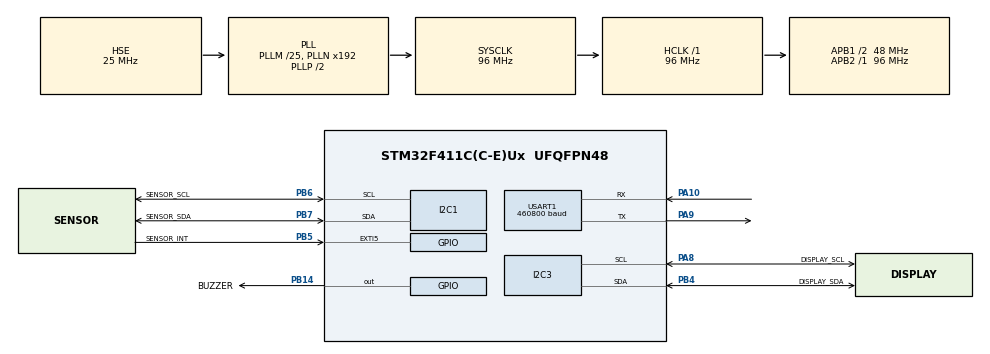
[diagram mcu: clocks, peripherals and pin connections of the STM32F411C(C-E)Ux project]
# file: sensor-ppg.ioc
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Dma.Request0=USART1_TX
Dma.USART1_TX.0.Direction=DMA_MEMORY_TO_PERIPH
Dma.USART1_TX.0.FIFOMode=DMA_FIFOMODE_DISABLE
Dma.USART1_TX.0.Instance=DMA2_Stream7
Dma.USART1_TX.0.MemDataAlignment=DMA_MDATAALIGN_BYTE
Dma.USART1_TX.0.MemInc=DMA_MINC_ENABLE
Dma.USART1_TX.0.Mode=DMA_NORMAL
Dma.USART1_TX.0.PeriphDataAlignment=DMA_PDATAALIGN_BYTE
Dma.USART1_TX.0.PeriphInc=DMA_PINC_DISABLE
Dma.USART1_TX.0.Priority=DMA_PRIORITY_LOW
I2C3.I2C_Mode=I2C_Fast
Mcu.Family=STM32F4
Mcu.Name=STM32F411C(C-E)Ux
Mcu.Package=UFQFPN48
NVIC.DMA2_Stream7_IRQn=true\:0\:0\:false\:false\:true\:false\:true\:true
NVIC.EXTI9_5_IRQn=true\:0\:0\:false\:false\:true\:true\:true\:true
NVIC.PriorityGroup=NVIC_PRIORITYGROUP_4
NVIC.TIM2_IRQn=true\:0\:0\:false\:false\:true\:true\:true\:true
NVIC.USART1_IRQn=true\:0\:0\:false\:false\:true\:true\:true\:true
PA10.Mode=Asynchronous
PA10.Signal=USART1_RX
PA8.GPIO_Label=DISPLAY_SCL
PA8.Mode=I2C
PA8.Signal=I2C3_SCL
PA9.Mode=Asynchronous
PA9.Signal=USART1_TX
PB14.GPIO_Label=BUZZER
PB14.Signal=GPIO_Output
PB4.GPIO_Label=DISPLAY_SDA
PB4.Mode=I2C
PB4.Signal=I2C3_SDA
PB5.GPIO_Label=SENSOR_INT
PB5.GPIO_ModeDefaultEXTI=GPIO_MODE_IT_FALLING
PB5.GPIO_PuPd=GPIO_PULLUP
PB5.Signal=GPXTI5
PB6.GPIO_Label=SENSOR_SCL
PB6.Mode=I2C
PB6.Signal=I2C1_SCL
PB7.GPIO_Label=SENSOR_SDA
PB7.Mode=I2C
PB7.Signal=I2C1_SDA
PH0\ -\ OSC_IN.Mode=HSE-External-Oscillator
PH0\ -\ OSC_IN.Signal=RCC_OSC_IN
PH1\ -\ OSC_OUT.Mode=HSE-External-Oscillator
PH1\ -\ OSC_OUT.Signal=RCC_OSC_OUT
ProjectManager.HeapSize=0x200
ProjectManager.StackSize=0x400
ProjectManager.TargetToolchain=CMake
RCC.48MHZClocksFreq_Value=48000000
RCC.AHBFreq_Value=96000000
RCC.APB1CLKDivider=RCC_HCLK_DIV2
RCC.APB1Freq_Value=48000000
RCC.APB1TimFreq_Value=96000000
RCC.APB2Freq_Value=96000000
RCC.APB2TimFreq_Value=96000000
RCC.CortexFreq_Value=96000000
RCC.HCLKFreq_Value=96000000
RCC.HSE_VALUE=25000000
RCC.HSI_VALUE=16000000
RCC.LSE_VALUE=32768
RCC.PLLM=25
RCC.PLLSourceVirtual=RCC_PLLSOURCE_HSE
RCC.SYSCLKFreq_VALUE=96000000
RCC.SYSCLKSource=RCC_SYSCLKSOURCE_PLLCLK
RCC.VCOOutputFreq_Value=192000000
TIM2.Period=99
TIM2.Prescaler=9599
USART1.BaudRate=460800
USART1.VirtualMode=VM_ASYNC
VP_TIM2_VS_ClockSourceINT.Mode=Internal
board=custom

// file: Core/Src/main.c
/* USER CODE BEGIN Header */
/**
  ******************************************************************************
  * @file           : main.c
  * @brief          : Main program body
  ******************************************************************************
  * @attention
  *
  * Copyright (c) 2026 STMicroelectronics.
  * All rights reserved.
  *
  * This software is licensed under terms that can be found in the LICENSE file
  * in the root directory of this software component.
  * If no LICENSE file comes with this software, it is provided AS-IS.
  *
  ******************************************************************************
  */
/* USER CODE END Header */
#include "main.h"

/* USER CODE BEGIN Includes */
#include "app.h"

/* USER CODE END Includes */

I2C_HandleTypeDef hi2c1;
I2C_HandleTypeDef hi2c3;

TIM_HandleTypeDef htim2;

UART_HandleTypeDef huart1;
DMA_HandleTypeDef hdma_usart1_tx;

void SystemClock_Config(void);
static void MX_GPIO_Init(void);
static void MX_DMA_Init(void);
static void MX_I2C1_Init(void);
static void MX_I2C3_Init(void);
static void MX_USART1_UART_Init(void);
static void MX_TIM2_Init(void);
/* USER CODE BEGIN PFP */
static void destrava_i2c1(void);

/* USER CODE END PFP */

int main(void)
{

  /* MCU Configuration--------------------------------------------------------*/

  /* Reset of all peripherals, Initializes the Flash interface and the Systick. */
  HAL_Init();

  /* Configure the system clock */
  SystemClock_Config();

  /* Initialize all configured peripherals */
  MX_GPIO_Init();
  MX_DMA_Init();
  MX_I2C1_Init();
  MX_I2C3_Init();
  MX_USART1_UART_Init();
  MX_TIM2_Init();
  /* USER CODE BEGIN 2 */
  destrava_i2c1();
  /* Tudo o mais (sensor, cadeia, display, TIM2 de régua) fica no app.c. */
  app_init(&hi2c1, &hi2c3, &huart1, &htim2);
  /* Watchdog independente (LSI ~32 kHz, /64, 1000 contagens: ~2 s), direto nos registradores.
     Parado no debugger. Ligado depois do app_init (o boot não passa de 2 s e o Error_Handler
     travado de propósito não deve reiniciar a placa antes do aviso). */
  DBGMCU->APB1FZ |= DBGMCU_APB1_FZ_DBG_IWDG_STOP;
  IWDG->KR = 0x5555;
  IWDG->PR = 4;
  IWDG->RLR = 1000;
  IWDG->KR = 0xAAAA;
  IWDG->KR = 0xCCCC;
  /* USER CODE END 2 */

  /* Infinite loop */
  while (1)
  {

    /* USER CODE BEGIN 3 */
    app_laco();
    IWDG->KR = 0xAAAA; /* alimenta o watchdog */
  }
  /* USER CODE END 3 */
}

void SystemClock_Config(void)
{
  RCC_OscInitTypeDef RCC_OscInitStruct = {0};
  RCC_ClkInitTypeDef RCC_ClkInitStruct = {0};

  /** Configure the main internal regulator output voltage
  */
  __HAL_RCC_PWR_CLK_ENABLE();
  __HAL_PWR_VOLTAGESCALING_CONFIG(PWR_REGULATOR_VOLTAGE_SCALE1);

  /** Initializes the RCC Oscillators according to the specified parameters
  * in the RCC_OscInitTypeDef structure.
  */
  RCC_OscInitStruct.OscillatorType = RCC_OSCILLATORTYPE_HSE;
  RCC_OscInitStruct.HSEState = RCC_HSE_ON;
  RCC_OscInitStruct.PLL.PLLState = RCC_PLL_ON;
  RCC_OscInitStruct.PLL.PLLSource = RCC_PLLSOURCE_HSE;
  RCC_OscInitStruct.PLL.PLLM = 25;
  RCC_OscInitStruct.PLL.PLLN = 192;
  RCC_OscInitStruct.PLL.PLLP = RCC_PLLP_DIV2;
  RCC_OscInitStruct.PLL.PLLQ = 4;
  if (HAL_RCC_OscConfig(&RCC_OscInitStruct) != HAL_OK)
  {
    Error_Handler();
  }

  /** Initializes the CPU, AHB and APB buses clocks
  */
  RCC_ClkInitStruct.ClockType = RCC_CLOCKTYPE_HCLK|RCC_CLOCKTYPE_SYSCLK
                              |RCC_CLOCKTYPE_PCLK1|RCC_CLOCKTYPE_PCLK2;
  RCC_ClkInitStruct.SYSCLKSource = RCC_SYSCLKSOURCE_PLLCLK;
  RCC_ClkInitStruct.AHBCLKDivider = RCC_SYSCLK_DIV1;
  RCC_ClkInitStruct.APB1CLKDivider = RCC_HCLK_DIV2;
  RCC_ClkInitStruct.APB2CLKDivider = RCC_HCLK_DIV1;

  if (HAL_RCC_ClockConfig(&RCC_ClkInitStruct, FLASH_LATENCY_3) != HAL_OK)
  {
    Error_Handler();
  }
}

static void MX_I2C1_Init(void)
{

  hi2c1.Instance = I2C1;
  hi2c1.Init.ClockSpeed = 100000;
  hi2c1.Init.DutyCycle = I2C_DUTYCYCLE_2;
  hi2c1.Init.OwnAddress1 = 0;
  hi2c1.Init.AddressingMode = I2C_ADDRESSINGMODE_7BIT;
  hi2c1.Init.DualAddressMode = I2C_DUALADDRESS_DISABLE;
  hi2c1.Init.OwnAddress2 = 0;
  hi2c1.Init.GeneralCallMode = I2C_GENERALCALL_DISABLE;
  hi2c1.Init.NoStretchMode = I2C_NOSTRETCH_DISABLE;
  if (HAL_I2C_Init(&hi2c1) != HAL_OK)
  {
    Error_Handler();
  }

}

static void MX_I2C3_Init(void)
{

  hi2c3.Instance = I2C3;
  hi2c3.Init.ClockSpeed = 400000;
  hi2c3.Init.DutyCycle = I2C_DUTYCYCLE_2;
  hi2c3.Init.OwnAddress1 = 0;
  hi2c3.Init.AddressingMode = I2C_ADDRESSINGMODE_7BIT;
  hi2c3.Init.DualAddressMode = I2C_DUALADDRESS_DISABLE;
  hi2c3.Init.OwnAddress2 = 0;
  hi2c3.Init.GeneralCallMode = I2C_GENERALCALL_DISABLE;
  hi2c3.Init.NoStretchMode = I2C_NOSTRETCH_DISABLE;
  if (HAL_I2C_Init(&hi2c3) != HAL_OK)
  {
    Error_Handler();
  }

}

static void MX_TIM2_Init(void)
{

  TIM_ClockConfigTypeDef sClockSourceConfig = {0};
  TIM_MasterConfigTypeDef sMasterConfig = {0};

  htim2.Instance = TIM2;
  htim2.Init.Prescaler = 9599;
  htim2.Init.CounterMode = TIM_COUNTERMODE_UP;
  htim2.Init.Period = 99;
  htim2.Init.ClockDivision = TIM_CLOCKDIVISION_DIV1;
  htim2.Init.AutoReloadPreload = TIM_AUTORELOAD_PRELOAD_DISABLE;
  if (HAL_TIM_Base_Init(&htim2) != HAL_OK)
  {
    Error_Handler();
  }
  sClockSourceConfig.ClockSource = TIM_CLOCKSOURCE_INTERNAL;
  if (HAL_TIM_ConfigClockSource(&htim2, &sClockSourceConfig) != HAL_OK)
  {
    Error_Handler();
  }
  sMasterConfig.MasterOutputTrigger = TIM_TRGO_RESET;
  sMasterConfig.MasterSlaveMode = TIM_MASTERSLAVEMODE_DISABLE;
  if (HAL_TIMEx_MasterConfigSynchronization(&htim2, &sMasterConfig) != HAL_OK)
  {
    Error_Handler();
  }

}

static void MX_USART1_UART_Init(void)
{

  huart1.Instance = USART1;
  huart1.Init.BaudRate = 460800;
  huart1.Init.WordLength = UART_WORDLENGTH_8B;
  huart1.Init.StopBits = UART_STOPBITS_1;
  huart1.Init.Parity = UART_PARITY_NONE;
  huart1.Init.Mode = UART_MODE_TX_RX;
  huart1.Init.HwFlowCtl = UART_HWCONTROL_NONE;
  huart1.Init.OverSampling = UART_OVERSAMPLING_16;
  if (HAL_UART_Init(&huart1) != HAL_OK)
  {
    Error_Handler();
  }

}

static void MX_DMA_Init(void)
{

  /* DMA controller clock enable */
  __HAL_RCC_DMA2_CLK_ENABLE();

  /* DMA interrupt init */
  /* DMA2_Stream7_IRQn interrupt configuration */
  HAL_NVIC_SetPriority(DMA2_Stream7_IRQn, 0, 0);
  HAL_NVIC_EnableIRQ(DMA2_Stream7_IRQn);

}

static void MX_GPIO_Init(void)
{
  GPIO_InitTypeDef GPIO_InitStruct = {0};

  /* GPIO Ports Clock Enable */
  __HAL_RCC_GPIOH_CLK_ENABLE();
  __HAL_RCC_GPIOB_CLK_ENABLE();
  __HAL_RCC_GPIOA_CLK_ENABLE();

  /*Configure GPIO pin Output Level */
  HAL_GPIO_WritePin(BUZZER_GPIO_Port, BUZZER_Pin, GPIO_PIN_RESET);

  /*Configure GPIO pin : BUZZER_Pin */
  GPIO_InitStruct.Pin = BUZZER_Pin;
  GPIO_InitStruct.Mode = GPIO_MODE_OUTPUT_PP;
  GPIO_InitStruct.Pull = GPIO_NOPULL;
  GPIO_InitStruct.Speed = GPIO_SPEED_FREQ_LOW;
  HAL_GPIO_Init(BUZZER_GPIO_Port, &GPIO_InitStruct);

  /*Configure GPIO pin : SENSOR_INT_Pin */
  GPIO_InitStruct.Pin = SENSOR_INT_Pin;
  GPIO_InitStruct.Mode = GPIO_MODE_IT_FALLING;
  GPIO_InitStruct.Pull = GPIO_PULLUP;
  HAL_GPIO_Init(SENSOR_INT_GPIO_Port, &GPIO_InitStruct);

  /* EXTI interrupt init*/
  HAL_NVIC_SetPriority(EXTI9_5_IRQn, 0, 0);
  HAL_NVIC_EnableIRQ(EXTI9_5_IRQn);

}

/* USER CODE BEGIN 4 */
/* Se a placa resetar no meio de uma leitura, o sensor fica no meio do byte
   segurando o SDA em 0 esperando o resto, e a I2C1 acha o barramento ocupado.
   9 pulsos no SCL com o SDA solto terminam o byte (o 9º é um NACK, e o sensor
   para de mandar); depois um STOP solta o barramento. Os 9 pulsos vão sempre:
   se o reset cair num bit 1, o SDA está alto agora mas o byte não acabou. */
static void destrava_i2c1(void)
{
  GPIO_InitTypeDef gpio = {0};

  HAL_I2C_DeInit(&hi2c1);
  gpio.Pull = GPIO_NOPULL;
  gpio.Speed = GPIO_SPEED_FREQ_LOW;
  HAL_GPIO_WritePin(SENSOR_SCL_GPIO_Port, SENSOR_SCL_Pin | SENSOR_SDA_Pin, GPIO_PIN_SET);
  /* SCL em push-pull (não tem resistor, ver o I2C1_MspInit); SDA em dreno
     aberto, porque o sensor também puxa o SDA. */
  gpio.Pin = SENSOR_SCL_Pin;
  gpio.Mode = GPIO_MODE_OUTPUT_PP;
  HAL_GPIO_Init(SENSOR_SCL_GPIO_Port, &gpio);
  gpio.Pin = SENSOR_SDA_Pin;
  gpio.Mode = GPIO_MODE_OUTPUT_OD;
  HAL_GPIO_Init(SENSOR_SDA_GPIO_Port, &gpio);
  HAL_Delay(1);

  for (int i = 0; i < 9; i++)
  {
    HAL_GPIO_WritePin(SENSOR_SCL_GPIO_Port, SENSOR_SCL_Pin, GPIO_PIN_RESET);
    HAL_Delay(1);
    HAL_GPIO_WritePin(SENSOR_SCL_GPIO_Port, SENSOR_SCL_Pin, GPIO_PIN_SET);
    HAL_Delay(1);
  }

  /* STOP: SDA sobe com o SCL alto. */
  HAL_GPIO_WritePin(SENSOR_SCL_GPIO_Port, SENSOR_SCL_Pin, GPIO_PIN_RESET);
  HAL_GPIO_WritePin(SENSOR_SDA_GPIO_Port, SENSOR_SDA_Pin, GPIO_PIN_RESET);
  HAL_Delay(1);
  HAL_GPIO_WritePin(SENSOR_SCL_GPIO_Port, SENSOR_SCL_Pin, GPIO_PIN_SET);
  HAL_Delay(1);
  HAL_GPIO_WritePin(SENSOR_SDA_GPIO_Port, SENSOR_SDA_Pin, GPIO_PIN_SET);
  HAL_Delay(1);

  MX_I2C1_Init();
}

/* USER CODE END 4 */

void Error_Handler(void)
{
  __disable_irq();
  while (1)
  {
  }
}
